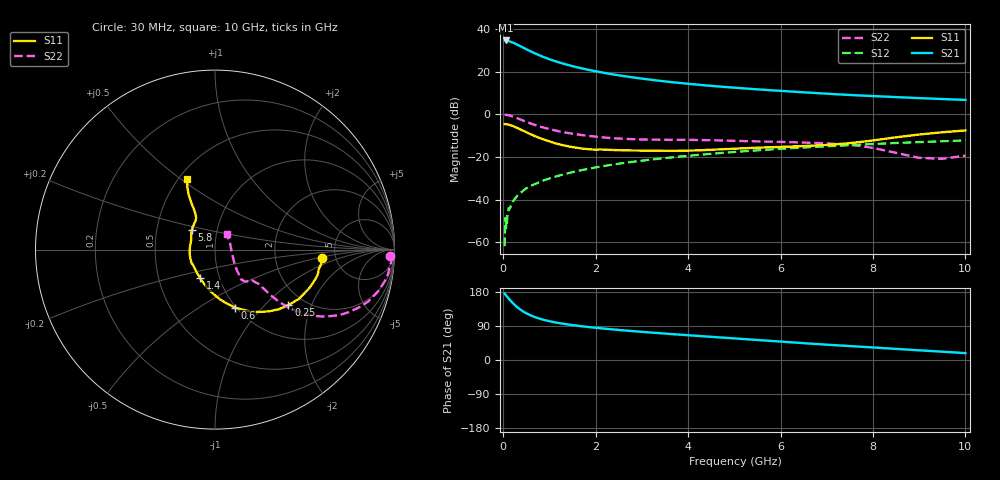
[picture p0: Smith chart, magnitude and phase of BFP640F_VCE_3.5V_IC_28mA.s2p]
! Infineon Technologies  Discrete & RF Semiconductors
! BFP640F
! VCE =  3.5 V,  IC =  28 mA
! Common Emitter S-Parameters:  Apr 2013
# GHz  S  MA  R  50
!  f  S11  S21  S12  S22
! GHz  MAG  ANG  MAG  ANG  MAG  ANG  MAG  ANG
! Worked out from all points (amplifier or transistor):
!   99 points, 30 MHz to 10 GHz, reference 50 ohm
!   highest |S21| = 34.8 dB at 50 MHz (marker M1)
!   |S21| within 3 dB of that: start of sweep to 398.6 MHz
!   unconditionally stable (mu >= 1): 1.901 GHz to end of sweep
!   at 350 MHz: K = 0.45, MSG = 34.8 dB, |S12| = -37.3 dB
!   at 3.5 GHz: K = 1.06, MAG = 16.6 dB, |S12| = -20.5 dB
!   at 10 GHz: K = 1.04, MAG = 8.2 dB, |S12| = -12.2 dB
!   S11 on the Smith chart (normalised r, x): 30 MHz: 3.88, -0.57; 250 MHz: 1.66, -1.39; 600 MHz: 0.99, -0.72; 1.4 GHz: 0.81, -0.26; 5.8 GHz: 0.75, +0.17; 10 GHz: 0.55, +0.53
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0.03  0.5974 -4.5  54.96 175.2  0.0008 80.4  0.9782 -2.0
0.05  0.5962 -7.9  55.1 172.3  0.0037 82.9  0.9842 -4.2
0.11  0.5796 -17.4  53.4 163.3  0.0051 82.3  0.9623 -10.5
0.15  0.5629 -23.5  51.86 157.7  0.0064 79.1  0.9383 -14.3
0.2  0.5418 -30.5  49.43 151.2  0.0087 76.5  0.9026 -18.6
0.25  0.5127 -37.1  46.87 145.2  0.0103 77.2  0.8621 -22.1
0.3  0.4861 -43.2  44.18 139.8  0.0121 77.0  0.8211 -25.2
0.4  0.4297 -53.9  38.94 130.6  0.0151 74.7  0.7411 -30.0
0.5  0.3823 -62.8  34.25 123.3  0.0184 72.3  0.6722 -33.4
0.6  0.3412 -71.0  30.31 117.4  0.021 71.6  0.6129 -35.7
0.7  0.305 -78.1  26.99 112.6  0.0235 71.8  0.5626 -37.2
0.9  0.2522 -90.7  21.93 105.2  0.0288 71.2  0.4837 -38.8
1.1  0.2146 -102.1  18.32 99.8  0.034 70.9  0.4264 -39.3
1.4  0.1791 -117.7  14.62 93.7  0.0415 70.3  0.3679 -39.0
1.7  0.1586 -132.3  12.14 89.0  0.0493 69.6  0.3286 -38.3
2.4  0.1459 -159.9  8.686 80.4  0.067 66.8  0.2763 -39.2
3.4  0.1405 173.1  6.177 70.6  0.0917 62.4  0.2549 -42.3
5.1  0.1585 146.8  4.191 56.2  0.1338 54.0  0.2392 -47.2
5.8  0.17 139.4  3.714 50.3  0.1508 50.0  0.2293 -48.2
6.7  0.1853 128.4  3.225 42.8  0.1714 45.0  0.215 -48.5
8.5  0.2909 116.9  2.566 29.3  0.2134 34.9  0.1253 -32.4
10  0.4215 111.4  2.201 18.2  0.2458 26.1  0.1077 51.8
